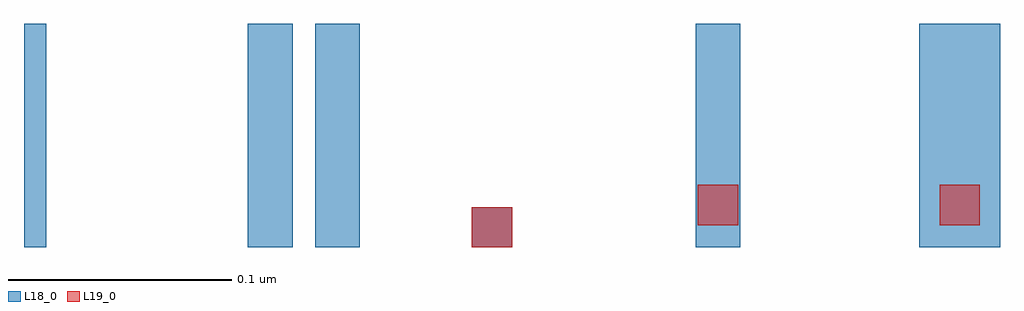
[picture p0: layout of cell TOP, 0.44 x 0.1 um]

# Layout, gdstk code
import gdstk
lib = gdstk.Library(unit=1e-6, precision=1e-09)
def R(c, l, rs):  # rectangles x0, y0, x1, y1
    for r in rs: c.add(gdstk.rectangle(r[:2], r[2:], *l))
L18_0 = (18, 0)
L19_0 = (19, 0)

top = lib.new_cell('TOP')
R(top, L18_0, [(0,0,0.01,0.1), (0.1,0,0.12,0.1), (0.13,0,0.15,0.1), (0.2,0,0.218,0.018), (0.3,0,0.32,0.1), (0.4,0,0.436,0.1)])
R(top, L19_0, [(0.2,0,0.218,0.018), (0.301,0.01,0.319,0.028), (0.409,0.01,0.427,0.028)])

lib.write_gds('TOP.gds')
